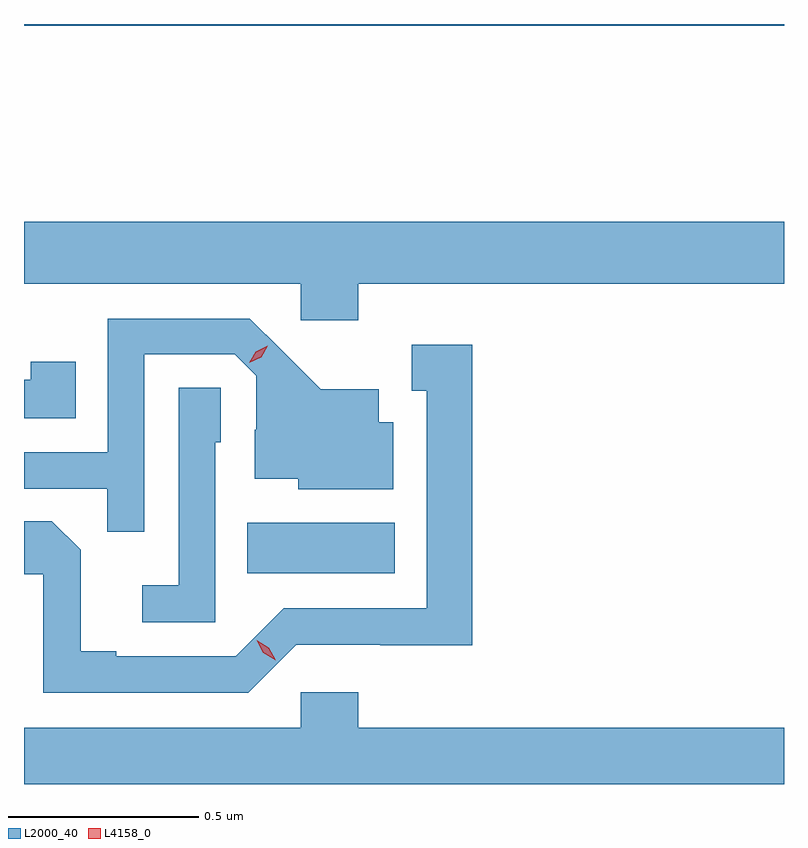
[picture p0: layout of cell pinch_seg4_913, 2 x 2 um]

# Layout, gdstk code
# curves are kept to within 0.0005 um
import gdstk
lib = gdstk.Library(unit=1e-6, precision=1e-09)
def R(c, l, rs):  # rectangles x0, y0, x1, y1
    for r in rs: c.add(gdstk.rectangle(r[:2], r[2:], *l))
def P(c, l, *ps):  # polygons
    for p in ps: c.add(gdstk.Polygon(p, *l))
L2000_40 = (2000, 40)
L4158_0 = (4158, 0)

pinch_seg4_913 = lib.new_cell('pinch_seg4_913')
R(pinch_seg4_913, L2000_40, [(719.896,822.698,720.283,822.832), (719.308,824.14,721.308,824.144)])
P(pinch_seg4_913, L2000_40, [(720.188,823.46),(721.308,823.46),(721.308,823.624),(719.308,823.624),(719.308,823.46),(720.036,823.46),(720.036,823.365),(720.188,823.365)],
  [(719.625,823.275),(719.862,823.275),(719.919,823.218),(719.919,823.076),(719.915,823.076),(719.915,822.947),(720.03,822.947),(720.03,822.92),(720.28,822.92),(720.28,823.096),(720.241,823.096),(720.241,823.183),(720.089,823.183),(719.902,823.368),(719.529,823.368),(719.529,823.017),(719.308,823.017),(719.308,822.921),(719.527,822.921),(719.527,822.808),(719.625,822.808)],
  [(720.024,822.51),(720.246,822.51),(720.246,822.509),(720.487,822.509),(720.487,823.3),(720.329,823.3),(720.329,823.179),(720.368,823.179),(720.368,822.606),(719.991,822.606),(719.865,822.48),(719.551,822.48),(719.551,822.493),(719.457,822.493),(719.457,822.76),(719.381,822.836),(719.308,822.836),(719.308,822.696),(719.358,822.696),(719.358,822.384),(719.898,822.384)],
  [(719.444,823.255),(719.326,823.255),(719.326,823.208),(719.308,823.208),(719.308,823.107),(719.444,823.107)],
  [(719.811,823.044),(719.826,823.044),(719.826,823.187),(719.715,823.187),(719.715,822.667),(719.619,822.667),(719.619,822.57),(719.811,822.57)],
  [(721.308,822.292),(720.188,822.292),(720.188,822.385),(720.036,822.385),(720.036,822.292),(719.308,822.292),(719.308,822.144),(721.308,822.144)])
P(pinch_seg4_913, L4158_0, [(719.97,822.47),(719.938,822.489),(719.92,822.522),(719.92,822.522),(719.92,822.522),(719.952,822.503),(719.97,822.47),(719.97,822.47)],
  [(719.901,823.253),(719.901,823.253),(719.918,823.282),(719.949,823.297),(719.95,823.297),(719.95,823.297),(719.932,823.267),(719.901,823.253)])

lib.write_gds('pinch_seg4_913.gds')
